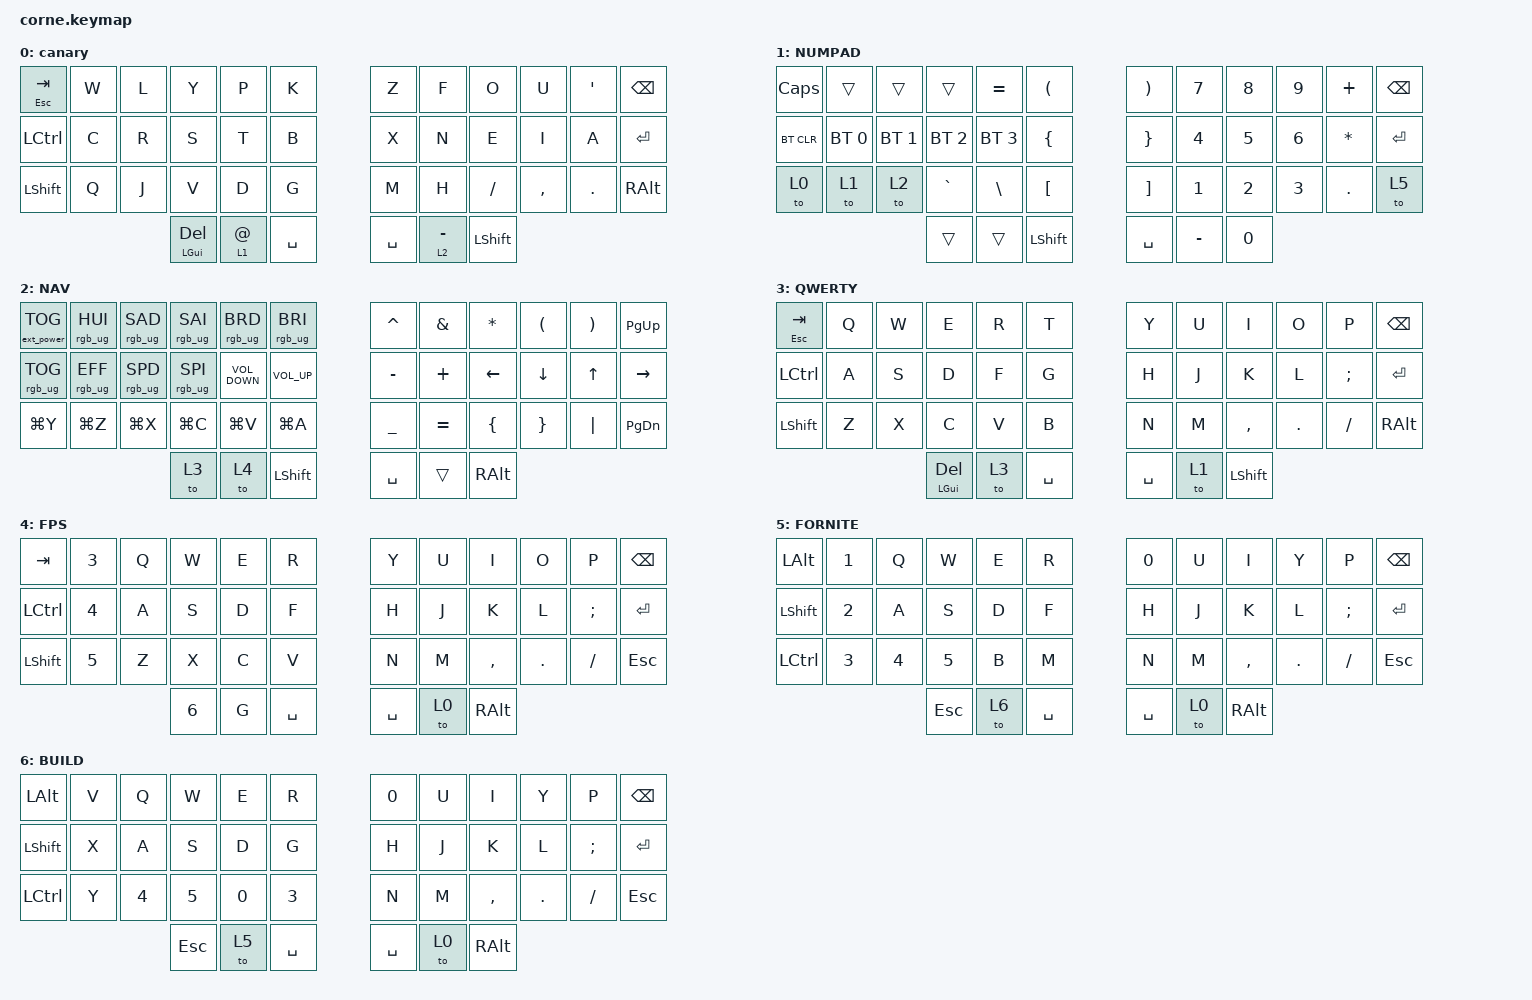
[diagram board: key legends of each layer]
/*
 * Copyright (c) 2020 The ZMK Contributors
 *
 * SPDX-License-Identifier: MIT
 */

#include <input/processors.dtsi>
#include <behaviors.dtsi>
#include <dt-bindings/zmk/bt.h>
#include <dt-bindings/zmk/ext_power.h>
#include <dt-bindings/zmk/keys.h>
#include <dt-bindings/zmk/rgb.h>

&led_strip { chain-length = <27>; };

&mt {
    quick-tap-ms = <100>;
    global-quick-tap;
    flavor = "tap-preferred";
    tapping-term-ms = <170>;
};

/ {
    macros {
        flash_macro: flash_macro {
            compatible = "zmk,behavior-macro";
            #binding-cells = <0>;
            bindings = <&bootloader>;
        };
    };

    behaviors {
        hm: homerow_mods {
            compatible = "zmk,behavior-hold-tap";
            label = "HOMEROW_MODS";
            bindings = <&kp>, <&kp>;

            #binding-cells = <2>;
            tapping-term-ms = <200>;
            quick-tap-ms = <180>;
            flavor = "tap-preferred";
        };

        ltq: ltq {
            compatible = "zmk,behavior-hold-tap";
            label = "LTQ";
            bindings = <&mo>, <&kp>;

            #binding-cells = <2>;
            tapping-term-ms = <200>;
            quick-tap-ms = <180>;
        };

        as: auto_shift {
            compatible = "zmk,behavior-hold-tap";
            label = "AUTO_SHIFT";
            bindings = <&kp>, <&kp>;

            #binding-cells = <2>;
            tapping-term-ms = <135>;
            quick-tap-ms = <0>;
        };
    };

    combos {
        compatible = "zmk,combos";

        left_bkt {
            bindings = <&kp LEFT_BRACKET>;
            key-positions = <28 29>;
            layers = <0>;
        };

        right_bkt {
            bindings = <&kp RIGHT_BRACKET>;
            key-positions = <30 31>;
            layers = <0>;
        };

        left_par {
            bindings = <&kp LEFT_PARENTHESIS>;
            key-positions = <4 5>;
            layers = <0>;
        };

        right_par {
            bindings = <&kp RIGHT_PARENTHESIS>;
            key-positions = <6 7>;
            layers = <0>;
        };

        left_brace {
            bindings = <&kp LEFT_BRACE>;
            key-positions = <16 17>;
            layers = <0>;
        };

        right_brace {
            bindings = <&kp RIGHT_BRACE>;
            key-positions = <18 19>;
            layers = <0>;
        };
    };

    keymap {
        compatible = "zmk,keymap";

        canary {
            bindings = <
&mt ESC TAB   &kp W  &kp L  &kp Y            &kp P          &kp K               &kp Z      &kp F        &kp O          &kp U      &kp SINGLE_QUOTE  &kp BACKSPACE
&kp LCTRL     &kp C  &kp R  &kp S            &kp T          &kp B               &kp X      &kp N        &kp E          &kp I      &kp A             &kp RET
&kp LSHIFT    &kp Q  &kp J  &kp V            &kp D          &kp G               &kp M      &kp H        &kp FSLH       &kp COMMA  &kp PERIOD        &kp  RIGHT_ALT
                          &mt LGUI DELETE  &lt 1 AT_SIGN  &kp SPACE    &kp SPACE  &lt 2 MINUS  &kp LSHIFT 
            >;
        };

        NUMPAD {
            // -----------------------------------------------------------------------------------------
            // |  TAB |  1  |  2  |  3  |  4  |  5  |   |  6  |  7  |  8  |  9  |  0  | BSPC |
            // | BTCLR| BT1 | BT2 | BT3 | BT4 | BT5 |   | LFT |  4  |  5  |  6  |     |      |
            // | SHFT |     |     |     |     |     |   |     |  1  |  2  |  3  |     |      |
            //                    | GUI |     | SPC |   | ENT |     |  0  |

            bindings = <
&kp CAPSLOCK  &trans        &trans        &trans        &kp EQUAL      &kp LEFT_PARENTHESIS    &kp RIGHT_PARENTHESIS  &kp N7     &kp N8        &kp N9  &kp PLUS      &kp BACKSPACE
&bt BT_CLR    &bt BT_SEL 0  &bt BT_SEL 1  &bt BT_SEL 2  &bt BT_SEL 3   &kp LEFT_BRACE          &kp RIGHT_BRACE        &kp N4     &kp N5        &kp N6  &kp ASTERISK  &kp RET
&to 0        &to 1        &to 2       &kp GRAVE     &kp BACKSLASH  &kp LEFT_BRACKET            &kp RIGHT_BRACKET      &kp N1     &kp N2        &kp N3  &kp PERIOD    &to 5
                                          &trans        &trans         &kp LSHFT               &kp SPACE              &kp MINUS  &kp NUMBER_0
            >;
        };

        NAV {
            bindings = <
&ext_power EP_TOG  &rgb_ug RGB_HUI  &rgb_ug RGB_SAD  &rgb_ug RGB_SAI  &rgb_ug RGB_BRD    &rgb_ug RGB_BRI    &kp CARET  &kp AMPS   &kp ASTRK       &kp LPAR        &kp RPAR      &kp PAGE_UP
&rgb_ug RGB_TOG    &rgb_ug RGB_EFF  &rgb_ug RGB_SPD  &rgb_ug RGB_SPI  &kp C_VOLUME_DOWN  &kp C_VOLUME_UP    &kp MINUS  &kp PLUS   &kp LEFT_ARROW  &kp DOWN_ARROW  &kp UP_ARROW  &kp RIGHT_ARROW
&kp LG(Y)          &kp LG(Z)        &kp LG(X)        &kp LG(C)        &kp LG(V)          &kp LG(A)          &kp UNDER  &kp EQUAL  &kp LBRC        &kp RBRC        &kp PIPE      &kp PAGE_DOWN
                                                     &to 3            &to 4              &kp LSHFT          &kp SPACE  &trans     &kp RALT
            >;
        };

        QWERTY {
            // -----------------------------------------------------------------------------------------
            // |  TAB |  Q  |  W  |  E  |  R  |  T  |   |  Y  |  U   |  I  |  O  |  P  | BKSP |
            // | CTRL |  A  |  S  |  D  |  F  |  G  |   |  H  |  J   |  K  |  L  |  ;  |  '   |
            // | SHFT |  Z  |  X  |  C  |  V  |  B  |   |  N  |  M   |  ,  |  .  |  /  | ESC  |
            //                    | GUI | DEF | SPC |   | ENT | RSE  | ALT |

            bindings = <
&mt ESC TAB    &kp Q  &kp W  &kp E     &kp R  &kp T         &kp Y      &kp U  &kp I          &kp O    &kp P     &kp BACKSPACE
&kp LCTRL      &kp A  &kp S  &kp D     &kp F  &kp G         &kp H      &kp J  &kp K          &kp L    &kp SEMI  &kp RET
&kp LSHFT      &kp Z  &kp X  &kp C     &kp V  &kp B         &kp N      &kp M  &kp COMMA      &kp DOT  &kp FSLH  &kp RIGHT_ALT
                    &mt LGUI DELETE  &to 3  &kp SPACE    &kp SPACE  &to 1  &kp LSHIFT
            >;
        };

        FPS {
            // -----------------------------------------------------------------------------------------
            // |  TAB |  3  |  Q  |  W  |  E  |  R  |   |  Y  |  U   |  I  |  O  |  P  | BKSP |
            // | CTRL |  4  |  A  |  S  |  D  |  F  |   |  H  |  J   |  K  |  L  |  ;  |  '   |
            // | SHFT |  5  |  Z  |  X  |  C  |  V  |   |  N  |  M   |  ,  |  .  |  /  | ESC  |
            //                    |  6  | DEF | SPC |   | ENT | RSE  | ALT |

            bindings = <
&kp TAB    &kp NUMBER_3  &kp Q  &kp W         &kp E  &kp R        &kp Y      &kp U  &kp I      &kp O    &kp P     &kp BSPC
&kp LCTRL  &kp NUMBER_4  &kp A  &kp S         &kp D  &kp F        &kp H      &kp J  &kp K      &kp L    &kp SEMI  &kp RET
&kp LSHFT  &kp NUMBER_5  &kp Z  &kp X         &kp C  &kp V        &kp N      &kp M  &kp COMMA  &kp DOT  &kp FSLH  &kp ESC
                              &kp NUMBER_6  &kp G  &kp SPACE    &kp SPACE  &to 0  &kp RALT
            >;
        };

        FORNITE {
            // --------------------------------------------------------------------------------------------------
            // | ALT    |   1   |   Q   |   W   |   E   |   R   |-------|   =   |       |       |       |       |
            // | SHIFT  |   2   |   A   |   S   |   D   |   F   |-------|       |       |       |       |       |
            // | CTRL   |   3   |   4   |   5   |   B   |   M   |-------|       |       |       |       |       |
            //                          |  ESC  | BUILD | SPACE |-------|       |       |       |       |       |

            bindings = <
&kp LALT   &kp NUMBER_1     &kp Q           &kp W           &kp E   &kp R               &kp 0      &kp U  &kp I      &kp Y    &kp P     &kp BSPC
&kp LSHFT  &kp NUMBER_2     &kp A           &kp S           &kp D   &kp F               &kp H      &kp J  &kp K      &kp L    &kp SEMI  &kp RET
&kp LCTRL  &kp NUMBER_3     &kp NUMBER_4    &kp NUMBER_5    &kp B   &kp M               &kp N      &kp M  &kp COMMA  &kp DOT  &kp FSLH  &kp ESC
                                            &kp ESC         &to 6   &kp SPACE           &kp SPACE  &to 0  &kp RALT
            >;
        };

        BUILD {
            // --------------------------------------------------------------------------------------------------
            // |  ALT   | TECHO |   Q   |   W   |   E   |   R   |-------|       |       |       |       |       |
            // | LSHIFT |  PISO |   A   |   S   |   D   |   G   |-------|       |       |       |       |       |
            // |  CTRL  |  TRAP |   4   |   5   |   0   |   3   |-------|       |       |       |       |       |
            //                          |  ESC  | FORTN | SPACE |-------|       |       |       |       |       |

            bindings = <
&kp LALT    &kp V           &kp Q           &kp W           &kp E           &kp R               &kp 0      &kp U  &kp I      &kp Y    &kp P     &kp BSPC
&kp LSHFT   &kp X           &kp A           &kp S           &kp D           &kp G               &kp H      &kp J  &kp K      &kp L    &kp SEMI  &kp RET
&kp LCTRL   &kp Y           &kp NUMBER_4    &kp NUMBER_5    &kp NUMBER_0    &kp NUMBER_3        &kp N      &kp M  &kp COMMA  &kp DOT  &kp FSLH  &kp ESC
                                                &kp ESC         &to 5           &kp SPACE           &kp SPACE  &to 0  &kp RALT
            >;


        };
    };
};
